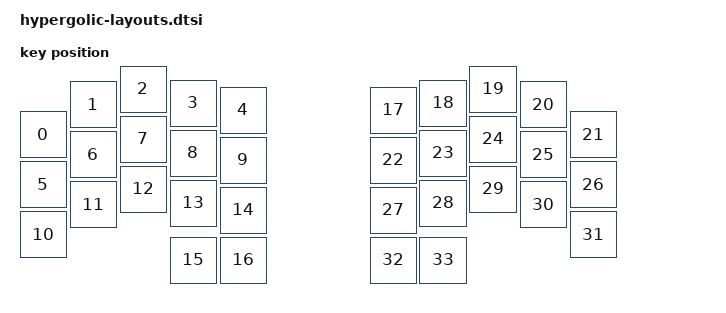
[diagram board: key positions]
/*
 * Copyright (c) 2025 The ZMK Contributors
 *
 * SPDX-License-Identifier: MIT
 */

#include <physical_layouts.dtsi>

/ {
    physical_layout0: physical_layout_0 {
        compatible = "zmk,physical-layout";
        display-name = "HyperGolic";

        kscan = <&kscan0>;
        transform = <&default_transform>;

        keys  //                     w   h    x    y     rot    rx    ry
            // Left half - matches keymap positions 0-16
            // Row 0 (Q W E R T) - positions 0-4
            = <&key_physical_attrs 100 100    0   91       0     0     0>
            , <&key_physical_attrs 100 100  100   31       0     0     0>
            , <&key_physical_attrs 100 100  200    0       0     0     0>
            , <&key_physical_attrs 100 100  300   28       0     0     0>
            , <&key_physical_attrs 100 100  400   42       0     0     0>
            // Row 1 (A S D F G) - positions 5-9
            , <&key_physical_attrs 100 100    0  191       0     0     0>
            , <&key_physical_attrs 100 100  100  131       0     0     0>
            , <&key_physical_attrs 100 100  200  100       0     0     0>
            , <&key_physical_attrs 100 100  300  128       0     0     0>
            , <&key_physical_attrs 100 100  400  142       0     0     0>
            // Row 2 (Z X C V B) - positions 10-14
            , <&key_physical_attrs 100 100    0  291       0     0     0>
            , <&key_physical_attrs 100 100  100  231       0     0     0>
            , <&key_physical_attrs 100 100  200  200       0     0     0>
            , <&key_physical_attrs 100 100  300  228       0     0     0>
            , <&key_physical_attrs 100 100  400  242       0     0     0>
            // Thumb keys (TAB RET) - positions 15-16
            , <&key_physical_attrs 100 100  300  342       0     0     0>
            , <&key_physical_attrs 100 100  400  342       0     0     0>
            // Right half - matches keymap positions 17-33
            // Row 0 (Y U I O P) - positions 17-21
            , <&key_physical_attrs 100 100  700   42       0     0     0>
            , <&key_physical_attrs 100 100  800   28       0     0     0>
            , <&key_physical_attrs 100 100  900    0       0     0     0>
            , <&key_physical_attrs 100 100 1000   31       0     0     0>
            , <&key_physical_attrs 100 100 1100   91       0     0     0>
            // Row 1 (H J K L ;) - positions 22-26
            , <&key_physical_attrs 100 100  700  142       0     0     0>
            , <&key_physical_attrs 100 100  800  128       0     0     0>
            , <&key_physical_attrs 100 100  900  100       0     0     0>
            , <&key_physical_attrs 100 100 1000  131       0     0     0>
            , <&key_physical_attrs 100 100 1100  191       0     0     0>
            // Row 2 (N M , . /) - positions 27-31
            , <&key_physical_attrs 100 100  700  242       0     0     0>
            , <&key_physical_attrs 100 100  800  228       0     0     0>
            , <&key_physical_attrs 100 100  900  200       0     0     0>
            , <&key_physical_attrs 100 100 1000  231       0     0     0>
            , <&key_physical_attrs 100 100 1100  291       0     0     0>
            // Thumb keys (SPC BSPC) - positions 32-33
            , <&key_physical_attrs 100 100  700  342       0     0     0>
            , <&key_physical_attrs 100 100  800  342       0     0     0>
            ;
    };
};
